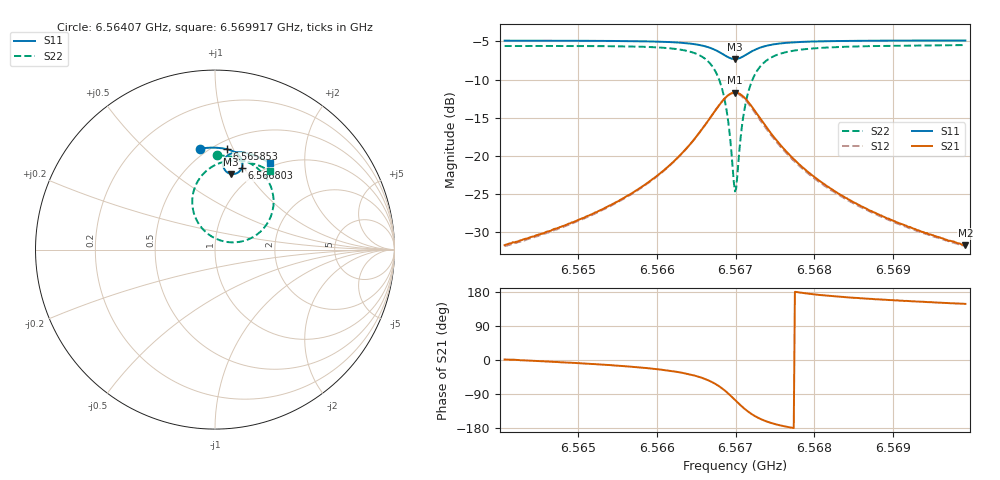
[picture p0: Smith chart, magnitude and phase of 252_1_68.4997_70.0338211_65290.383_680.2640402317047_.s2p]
#  HZ  S  RI  R  50.00
! Rohde & Schwarz Vector Network Analyzer
! Rohde-Schwarz,ZNB20-2Port,1311601062101988,3.16
! Created: UTC 3/20/2024, 4:59:53 PM
! freq[Hz]  re:S11  im:S11  re:S21  im:S21  re:S12  im:S12  re:S22  im:S22
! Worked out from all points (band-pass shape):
!   401 points, 6.56407 GHz to 6.569917 GHz, reference 50 ohm
!   highest |S21| = -11.69 dB at 6.566993 GHz (marker M1); lowest = -31.7 dB at 6.569917 GHz (marker M2)
!   |S21| within 3 dB of the highest: 6.566699 GHz to 6.567286 GHz (586.1 kHz wide, 0.00892 % of centre)
!   lowest |S11| = -7.3 dB at 6.566993 GHz (marker M3), VSWR 2.51, Z = 40.3 + j41.7 ohm
!   |S11| at or under -10 dB: nowhere
!   |S22| runs from -24.7 to -5.5 dB; largest |S21 - S12| = 0.012
!   S11 on the Smith chart (normalised r, x): 6.56407 GHz: 0.45, +0.75; 6.565853 GHz: 0.58, +0.94; 6.566803 GHz: 0.83, +0.97; 6.569917 GHz: 0.94, +1.35
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6.5640696e9  -0.0847 0.5628  0.026 0.000626  0.0256 0.000114  0.0139 0.5248
6.5650489e9  -0.00575 0.5681  0.0385 -0.00599  0.0377 -0.00654  0.1033 0.5149
6.5658529e9  0.0664 0.5596  0.0606 -0.0233  0.0597 -0.024  0.1988 0.4788
6.5660283e9  0.0841 0.5543  0.0688 -0.0319  0.0677 -0.0325  0.2259 0.4615
6.5663499e9  0.1195 0.5364  0.0887 -0.0618  0.0873 -0.063  0.2841 0.4019
6.5665692e9  0.1443 0.5097  0.1018 -0.1078  0.0993 -0.11  0.322 0.3128
6.5667007e9  0.1531 0.4818  0.0973 -0.157  0.0935 -0.1596  0.3215 0.2196
6.566803e9  0.1479 0.4526  0.0713 -0.2067  0.0649 -0.2095  0.2769 0.1259
6.5668908e9  0.1279 0.4293  0.0199 -0.2452  0.0105 -0.2457  0.1839 0.0562
6.56692e9  0.1176 0.4239  -0.00361 -0.2527  -0.0138 -0.2519  0.1414 0.0439
6.5669638e9  0.0998 0.4206  -0.0426 -0.2557  -0.0532 -0.252  0.072 0.0417
6.5669931e9  0.0875 0.4218  -0.0689 -0.2511  -0.0792 -0.2457  0.026 0.0524
6.5670223e9  0.0758 0.4258  -0.0939 -0.2414  -0.1034 -0.2343  -0.0167 0.072
6.5670808e9  0.0572 0.4406  -0.1347 -0.2098  -0.1411 -0.2005  -0.0827 0.1322
6.5671246e9  0.0488 0.4551  -0.1543 -0.1806  -0.1583 -0.1704  -0.1121 0.1859
6.5671831e9  0.0452 0.475  -0.1667 -0.1412  -0.1678 -0.1316  -0.1266 0.2559
6.5672562e9  0.0493 0.4965  -0.1665 -0.099  -0.1653 -0.091  -0.1181 0.3289
6.5675193e9  0.0882 0.5347  -0.1247 -0.0218  -0.1221 -0.0181  -0.0231 0.4575
6.5679725e9  0.1467 0.5424  -0.0742 0.00797  -0.0725 0.00897  0.0965 0.4966
6.5683671e9  0.1858 0.5355  -0.0528 0.0127  -0.0515 0.0135  0.1597 0.4933
6.5689518e9  0.2344 0.5191  -0.0359 0.0144  -0.035 0.0145  0.2257 0.476
6.5699166e9  0.304 0.4834  -0.0221 0.0137  -0.0216 0.0138  0.3056 0.4364
